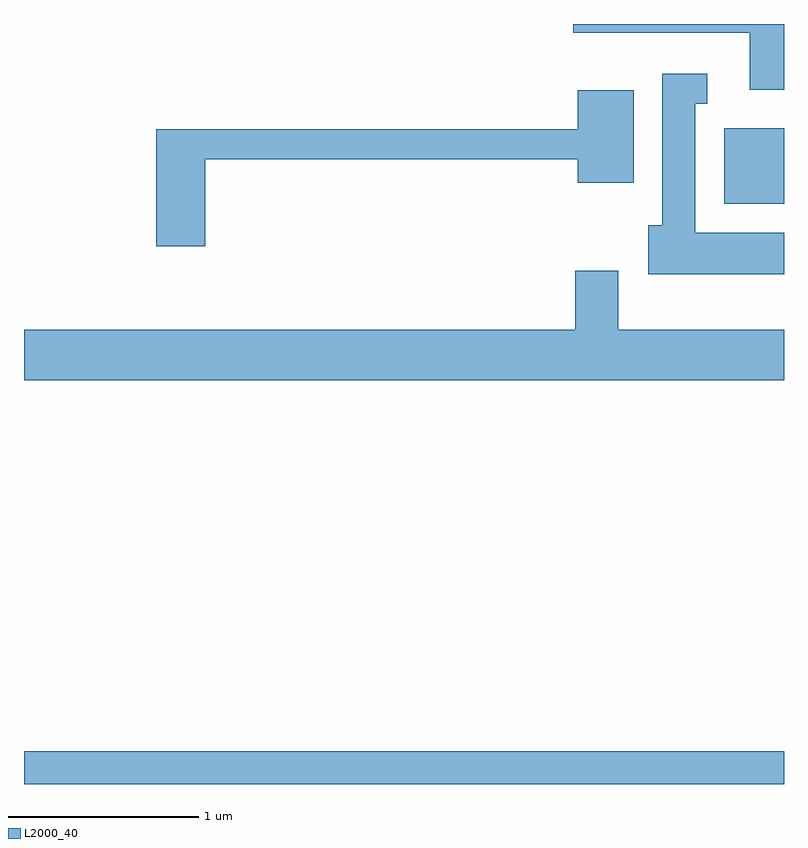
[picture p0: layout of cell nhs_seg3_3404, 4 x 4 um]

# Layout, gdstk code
import gdstk
lib = gdstk.Library(unit=1e-6, precision=1e-09)
def R(c, l, rs):  # rectangles x0, y0, x1, y1
    for r in rs: c.add(gdstk.rectangle(r[:2], r[2:], *l))
def P(c, l, *ps):  # polygons
    for p in ps: c.add(gdstk.Polygon(p, *l))
L2000_40 = (2000, 40)

nhs_seg3_3404 = lib.new_cell('nhs_seg3_3404')
R(nhs_seg3_3404, L2000_40, [(285.611,1123.892,289.611,1124.064), (289.296,1126.946,289.611,1127.344)])
P(nhs_seg3_3404, L2000_40, [(289.611,1127.892),(288.503,1127.892),(288.503,1127.846),(289.431,1127.846),(289.431,1127.546),(289.611,1127.546)],
  [(289.611,1126.794),(289.144,1126.794),(289.144,1127.471),(289.208,1127.471),(289.208,1127.629),(288.971,1127.629),(288.971,1126.834),(288.896,1126.834),(288.896,1126.576),(289.611,1126.576)],
  [(286.564,1127.181),(288.526,1127.181),(288.526,1127.056),(288.819,1127.056),(288.819,1127.544),(288.526,1127.544),(288.526,1127.339),(286.306,1127.339),(286.306,1126.721),(286.564,1126.721)],
  [(289.611,1126.284),(288.739,1126.284),(288.739,1126.594),(288.511,1126.594),(288.511,1126.284),(285.611,1126.284),(285.611,1126.016),(289.611,1126.016)])

lib.write_gds('nhs_seg3_3404.gds')
